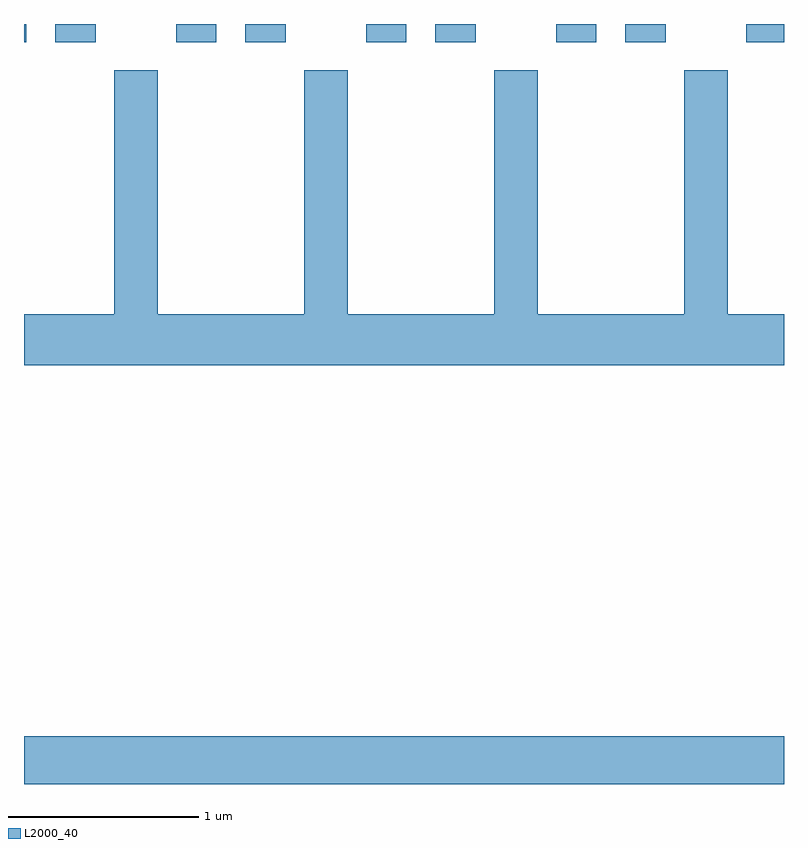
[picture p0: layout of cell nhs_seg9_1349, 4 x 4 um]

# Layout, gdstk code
import gdstk
lib = gdstk.Library(unit=1e-6, precision=1e-09)
def R(c, l, rs):  # rectangles x0, y0, x1, y1
    for r in rs: c.add(gdstk.rectangle(r[:2], r[2:], *l))
def P(c, l, *ps):  # polygons
    for p in ps: c.add(gdstk.Polygon(p, *l))
L2000_40 = (2000, 40)

nhs_seg9_1349 = lib.new_cell('nhs_seg9_1349')
R(nhs_seg9_1349, L2000_40, [(223.611,2058.432,227.611,2058.684), (223.611,2062.336,223.624,2062.432), (223.776,2062.336,223.989,2062.432), (224.411,2062.336,224.624,2062.432), (224.776,2062.336,224.989,2062.432), (225.411,2062.336,225.624,2062.432), (225.776,2062.336,225.989,2062.432), (226.411,2062.336,226.624,2062.432), (226.776,2062.336,226.989,2062.432), (227.411,2062.336,227.611,2062.432)])
P(nhs_seg9_1349, L2000_40, [(225.086,2062.189),(225.086,2060.904),(224.314,2060.904),(224.314,2062.189),(224.086,2062.189),(224.086,2060.904),(223.611,2060.904),(223.611,2060.636),(227.611,2060.636),(227.611,2060.904),(227.314,2060.904),(227.314,2062.189),(227.086,2062.189),(227.086,2060.904),(226.314,2060.904),(226.314,2062.189),(226.086,2062.189),(226.086,2060.904),(225.314,2060.904),(225.314,2062.189)])

lib.write_gds('nhs_seg9_1349.gds')
